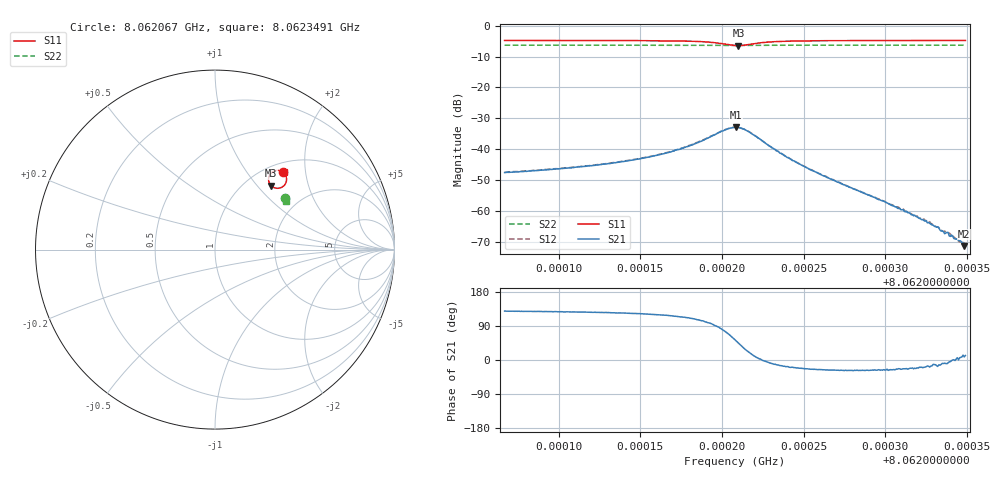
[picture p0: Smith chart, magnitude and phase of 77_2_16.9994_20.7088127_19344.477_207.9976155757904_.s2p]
#  HZ  S  RI  R  50.00
! Rohde & Schwarz Vector Network Analyzer
! Rohde-Schwarz,ZNB20-2Port,1311601062101988,3.16
! Created: UTC 3/20/2024, 10:55:28 PM
! freq[Hz]  re:S11  im:S11  re:S21  im:S21  re:S12  im:S12  re:S22  im:S22
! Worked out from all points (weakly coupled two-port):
!   401 points, 8.062067 GHz to 8.0623491 GHz, reference 50 ohm
!   highest |S21| = -32.97 dB at 8.0622087 GHz (marker M1); lowest = -71.4 dB at 8.0623484 GHz (marker M2)
!   lowest |S11| = -6.5 dB at 8.0622101 GHz (marker M3), VSWR 2.80, Z = 64.8 + j59.5 ohm
!   |S11| at or under -10 dB: nowhere
!   |S22| runs from -6.4 to -6.3 dB; largest |S21 - S12| = 0.0016
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8.06206699e9  0.3813 0.431  -0.00263 0.00323  -0.00244 0.00343  0.3881 0.2864
8.06211423e9  0.3869 0.4247  -0.00309 0.00418  -0.00289 0.0044  0.3897 0.2839
8.06214103e9  0.3912 0.4186  -0.00355 0.00529  -0.00328 0.00557  0.3907 0.2822
8.06216148e9  0.3954 0.4098  -0.00395 0.00704  -0.00357 0.00739  0.3913 0.281
8.0621777e9  0.3987 0.3964  -0.00405 0.00994  -0.00355 0.0102  0.3917 0.2796
8.06219321e9  0.3925 0.3672  -0.00177 0.0158  -0.00069 0.0162  0.3916 0.2775
8.06220309e9  0.3581 0.3424  0.00662 0.02  0.00804 0.0197  0.3899 0.2767
8.06220802e9  0.3259 0.3469  0.0134 0.018  0.0148 0.0171  0.3888 0.2773
8.06220873e9  0.3215 0.3495  0.0143 0.0173  0.0156 0.0164  0.3887 0.2773
8.06221014e9  0.3134 0.356  0.0159 0.0156  0.017 0.0146  0.3886 0.2776
8.06221578e9  0.2985 0.3907  0.018 0.00761  0.0186 0.00634  0.3886 0.2792
8.06222636e9  0.3186 0.4315  0.0126 -0.000736  0.0126 -0.00156  0.3904 0.28
8.06224046e9  0.3442 0.4416  0.00691 -0.00218  0.00685 -0.00265  0.3922 0.2794
8.06225527e9  0.3579 0.441  0.0041 -0.00183  0.00406 -0.00212  0.3931 0.2786
8.06230252e9  0.3748 0.4348  0.00114 -0.000559  0.00114 -0.000633  0.3952 0.2758
8.06232861e9  0.3791 0.4321  0.000568 -0.000156  0.000582 -0.000199  0.3962 0.2744
8.06233143e9  0.3795 0.4319  0.000523 -0.000139  0.000526 -0.00016  0.3964 0.2743
8.06233495e9  0.3799 0.4316  0.000466 -7.2e-05  0.000453 -0.000134  0.3964 0.2741
8.06233848e9  0.3804 0.4312  0.000442 -5.92e-05  0.000432 -7.25e-05  0.3965 0.2737
8.06234624e9  0.3814 0.4306  0.000321 3.93e-05  0.00031 1.65e-05  0.3968 0.2735
8.06234835e9  0.3816 0.4304  0.000266 3.75e-05  0.000296 5.76e-05  0.3969 0.2735
8.06234906e9  0.3817 0.4304  0.000268 5.57e-05  0.000267 1.24e-05  0.3968 0.2733
